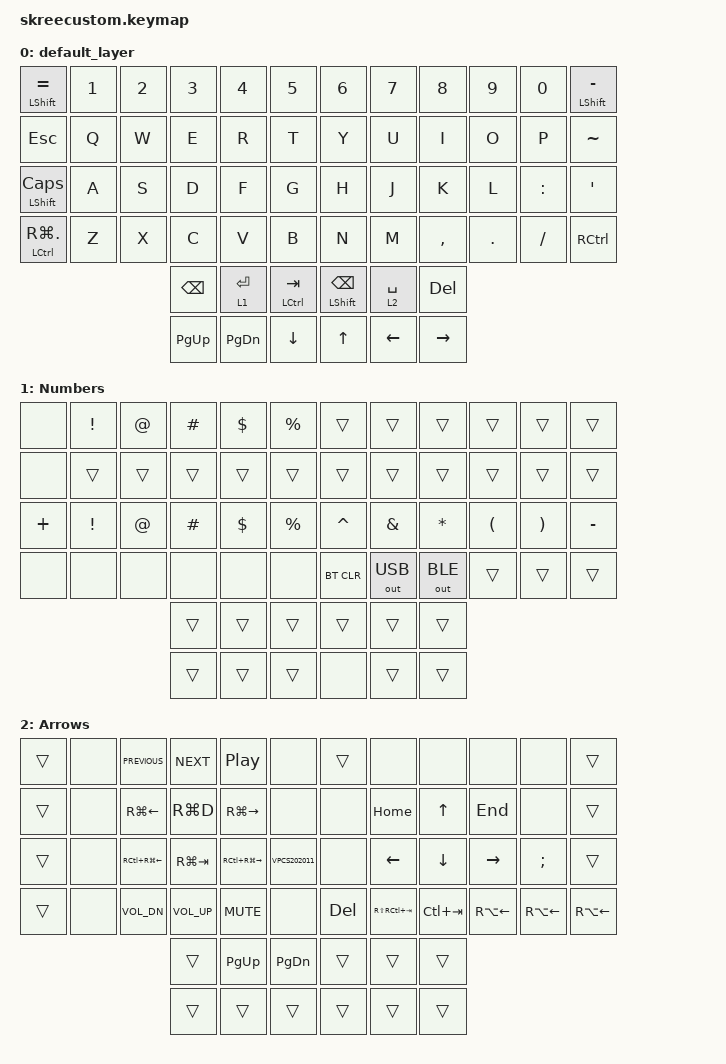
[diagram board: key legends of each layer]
/*
 * Copyright (c) 2020 The ZMK Contributors
 * 
 * SPDX-License-Identifier: MIT
 */

#include <input/processors.dtsi>
#include <dt-bindings/zmk/input_transform.h>
#include <behaviors.dtsi>
#include <dt-bindings/zmk/bt.h>
#include <dt-bindings/zmk/keys.h>
#include <dt-bindings/zmk/outputs.h>

/ {
    macros {
        VPCS202011: VPCS202011 {
            compatible = "zmk,behavior-macro";
            #binding-cells = <0>;
            bindings = <&kp LS(V) &kp LS(P) &kp LS(C) &kp LS(S) &kp N2 &kp N0 &kp N2 &kp N0 &kp EXCL &kp EXCL &kp RET>;
            label = "VPCS202011";
        };
    };

    keymap {
        compatible = "zmk,keymap";

        default_layer {
            bindings = <
&mt LEFT_SHIFT EQUAL     &kp N1  &kp N2  &kp N3         &kp N4         &kp N5            &kp N6                    &kp N7          &kp N8      &kp N9   &kp N0     &mt LEFT_SHIFT MINUS
&kp ESCAPE               &kp Q   &kp W   &kp E          &kp R          &kp T             &kp Y                     &kp U           &kp I       &kp O    &kp P      &kp TILDE
&mt LEFT_SHIFT CAPSLOCK  &kp A   &kp S   &kp D          &kp F          &kp G             &kp H                     &kp J           &kp K       &kp L    &kp COLON  &kp SQT
&mt LCTRL RG(PERIOD)     &kp Z   &kp X   &kp C          &kp V          &kp B             &kp N                     &kp M           &kp COMMA   &kp DOT  &kp FSLH   &kp RCTRL
                                         &kp BACKSPACE  &lt 1 ENTER    &mt LCTRL TAB     &mt LEFT_SHIFT BACKSPACE  &lt 2 SPACE     &kp DELETE
                                         &kp PAGE_UP    &kp PAGE_DOWN  &kp DOWN_ARROW    &kp UP_ARROW              &kp LEFT_ARROW  &kp RIGHT
            >;
        };

        Numbers {
            bindings = <
&none     &kp EXCLAMATION  &kp AT_SIGN  &kp HASH  &kp DOLLAR  &kp PERCENT    &trans      &trans         &trans        &trans                &trans                 &trans
&none     &trans           &trans       &trans    &trans      &trans         &trans      &trans         &trans        &trans                &trans                 &trans
&kp PLUS  &kp EXCLAMATION  &kp AT_SIGN  &kp HASH  &kp DOLLAR  &kp PERCENT    &kp CARET   &kp AMPERSAND  &kp ASTERISK  &kp LEFT_PARENTHESIS  &kp RIGHT_PARENTHESIS  &kp MINUS
&none     &none            &none        &none     &none       &none          &bt BT_CLR  &out OUT_USB   &out OUT_BLE  &trans                &trans                 &trans
                                        &trans    &trans      &trans         &trans      &trans         &trans
                                        &trans    &trans      &trans         &none       &trans         &trans
            >;
        };

        Arrows {
            bindings = <
&trans  &none  &kp C_PREVIOUS          &kp C_NEXT       &kp C_PLAY_PAUSE   &none          &trans   &none            &none         &none         &none               &trans
&trans  &none  &kp RG(LEFT_ARROW)      &kp RG(D)        &kp RG(RIGHT)      &none          &none    &kp HOME         &kp UP_ARROW  &kp END       &none               &trans
&trans  &none  &kp RC(RG(LEFT_ARROW))  &kp RG(TAB)      &kp RC(RG(RIGHT))  &VPCS202011    &none    &kp LEFT         &kp DOWN      &kp RIGHT     &kp SEMI            &trans
&trans  &none  &kp C_VOL_DN            &kp C_VOLUME_UP  &kp C_MUTE         &none          &kp DEL  &kp RS(RC(TAB))  &kp LC(TAB)   &kp RA(LEFT)  &kp RA(LEFT_ARROW)  &kp RA(LEFT_ARROW)
                                       &trans           &kp PG_UP          &kp PG_DN      &trans   &trans           &trans
                                       &trans           &trans             &trans         &trans   &trans           &trans
            >;
        };
    };
};

// //right hand trackball overrides
// &trackball_peripheral_listener {
//     input-processors =
//         <&zip_xy_transform INPUT_TRANSFORM_XY_SWAP>,//this gets it to the default installation orientation
//         <&zip_temp_layer 3 500>;//activate layer 3 within 500ms of the trackball moving
// };
// //left hand trackball overrides 
// &trackball_central_listener {
//     input-processors = 
//         <&zip_xy_transform INPUT_TRANSFORM_XY_SWAP>,//this gets it to the default installation orientation
//         <&zip_xy_scaler 1 3>,//multiply sensitivity by 1, divide by 3 (make it slower for scrolling)
//         <&zip_xy_to_scroll_mapper>,//make this trackball output scrolling events by default instead of cursor movement
//         <&zip_scroll_transform INPUT_TRANSFORM_Y_INVERT>;//invert vertical scrolling so that the view moves in the same direction as the top of the trackball.
// };
